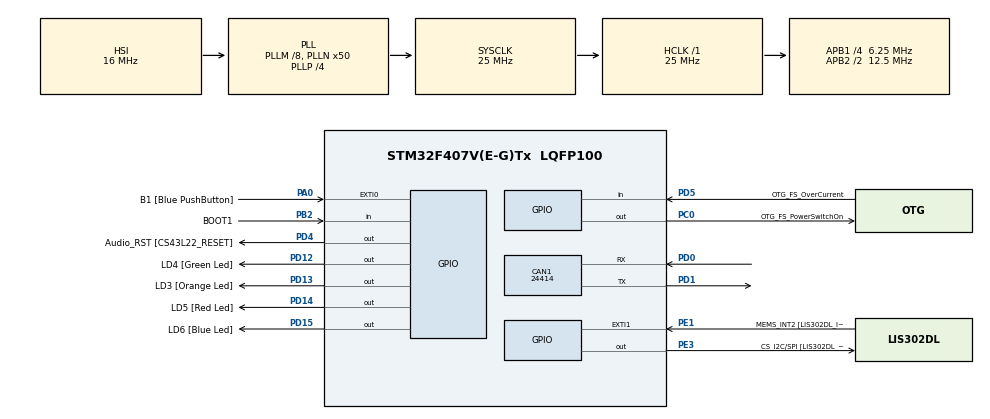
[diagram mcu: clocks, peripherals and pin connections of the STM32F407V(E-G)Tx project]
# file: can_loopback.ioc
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CAN1.BS1=CAN_BS1_11TQ
CAN1.BS2=CAN_BS2_4TQ
CAN1.CalculateBaudRate=24414
CAN1.CalculateTimeBit=40960
CAN1.CalculateTimeQuantum=2560.0
CAN1.Mode=CAN_MODE_LOOPBACK
Mcu.Family=STM32F4
Mcu.Name=STM32F407V(E-G)Tx
Mcu.Package=LQFP100
NVIC.PriorityGroup=NVIC_PRIORITYGROUP_0
PA0-WKUP.GPIO_Label=B1 [Blue PushButton]
PA0-WKUP.Signal=GPXTI0
PA10.GPIO_Label=OTG_FS_ID
PA10.GPIO_Mode=GPIO_MODE_AF_PP
PA10.GPIO_PuPd=GPIO_NOPULL
PA10.GPIO_Speed=GPIO_SPEED_FREQ_LOW
PA10.Signal=USB_OTG_FS_ID
PA11.GPIO_Label=OTG_FS_DM
PA11.GPIO_Mode=GPIO_MODE_AF_PP
PA11.GPIO_PuPd=GPIO_NOPULL
PA11.GPIO_Speed=GPIO_SPEED_FREQ_LOW
PA11.Signal=USB_OTG_FS_DM
PA12.GPIO_Label=OTG_FS_DP
PA12.GPIO_Mode=GPIO_MODE_AF_PP
PA12.GPIO_PuPd=GPIO_NOPULL
PA12.GPIO_Speed=GPIO_SPEED_FREQ_LOW
PA12.Signal=USB_OTG_FS_DP
PA13.GPIO_Label=SWDIO
PA13.Signal=SYS_JTMS-SWDIO
PA14.GPIO_Label=SWCLK
PA14.Signal=SYS_JTCK-SWCLK
PA4.GPIO_Label=I2S3_WS [CS43L22_LRCK]
PA4.GPIO_Mode=GPIO_MODE_AF_PP
PA4.GPIO_PuPd=GPIO_NOPULL
PA4.GPIO_Speed=GPIO_SPEED_FREQ_LOW
PA4.Signal=I2S3_WS
PA5.GPIO_Label=SPI1_SCK [LIS302DL_SCL/SPC]
PA5.GPIO_Mode=GPIO_MODE_AF_PP
PA5.GPIO_PuPd=GPIO_NOPULL
PA5.GPIO_Speed=GPIO_SPEED_FREQ_LOW
PA5.Signal=SPI1_SCK
PA6.GPIO_Label=SPI1_MISO [LIS302DL_SDO]
PA6.GPIO_Mode=GPIO_MODE_AF_PP
PA6.GPIO_PuPd=GPIO_NOPULL
PA6.GPIO_Speed=GPIO_SPEED_FREQ_LOW
PA6.Signal=SPI1_MISO
PA7.GPIO_Label=SPI1_MOSI [LIS302DL_SDA/SDI/SDO]
PA7.GPIO_Mode=GPIO_MODE_AF_PP
PA7.GPIO_PuPd=GPIO_NOPULL
PA7.GPIO_Speed=GPIO_SPEED_FREQ_LOW
PA7.Signal=SPI1_MOSI
PA9.GPIO_Label=VBUS_FS
PA9.GPIO_Mode=GPIO_MODE_INPUT
PA9.GPIO_PuPd=GPIO_NOPULL
PA9.Signal=USB_OTG_FS_VBUS
PB10.GPIO_Label=CLK_IN [MP45DT02_CLK]
PB10.GPIO_Mode=GPIO_MODE_AF_PP
PB10.GPIO_PuPd=GPIO_NOPULL
PB10.GPIO_Speed=GPIO_SPEED_FREQ_LOW
PB10.Signal=I2S2_CK
PB2.GPIO_Label=BOOT1
PB2.GPIO_Mode=GPIO_MODE_INPUT
PB2.GPIO_PuPd=GPIO_NOPULL
PB2.Signal=GPIO_Input
PB3.GPIO_Label=SWO
PB3.Signal=SYS_JTDO-SWO
PB6.GPIO_Label=Audio_SCL [CS43L22_SCL]
PB6.GPIO_Mode=GPIO_MODE_AF_OD
PB6.GPIO_PuPd=GPIO_NOPULL
PB6.GPIO_Speed=GPIO_SPEED_FREQ_LOW
PB6.Signal=I2C1_SCL
PB9.GPIO_Label=Audio_SDA [CS43L22_SDA]
PB9.GPIO_Mode=GPIO_MODE_AF_OD
PB9.GPIO_PuPd=GPIO_NOPULL
PB9.GPIO_Speed=GPIO_SPEED_FREQ_LOW
PB9.Signal=I2C1_SDA
PC0.GPIO_Label=OTG_FS_PowerSwitchOn
PC0.GPIO_PuPd=GPIO_NOPULL
PC0.GPIO_Speed=GPIO_SPEED_FREQ_LOW
PC0.PinState=GPIO_PIN_SET
PC0.Signal=GPIO_Output
PC10.GPIO_Label=I2S3_SCK [CS43L22_SCLK]
PC10.GPIO_Mode=GPIO_MODE_AF_PP
PC10.GPIO_PuPd=GPIO_NOPULL
PC10.GPIO_Speed=GPIO_SPEED_FREQ_LOW
PC10.Signal=I2S3_CK
PC12.GPIO_Label=I2S3_SD [CS43L22_SDIN]
PC12.GPIO_Mode=GPIO_MODE_AF_PP
PC12.GPIO_PuPd=GPIO_NOPULL
PC12.GPIO_Speed=GPIO_SPEED_FREQ_LOW
PC12.Signal=I2S3_SD
PC14-OSC32_IN.GPIO_Label=PC14-OSC32_IN
PC14-OSC32_IN.Signal=RCC_OSC32_IN
PC15-OSC32_OUT.GPIO_Label=PC15-OSC32_OUT
PC15-OSC32_OUT.Signal=RCC_OSC32_OUT
PC3.GPIO_Label=PDM_OUT [MP45DT02_DOUT]
PC3.GPIO_Mode=GPIO_MODE_AF_PP
PC3.GPIO_PuPd=GPIO_NOPULL
PC3.GPIO_Speed=GPIO_SPEED_FREQ_LOW
PC3.Signal=I2S2_SD
PC7.GPIO_Label=I2S3_MCK [CS43L22_MCLK]
PC7.GPIO_Mode=GPIO_MODE_AF_PP
PC7.GPIO_PuPd=GPIO_NOPULL
PC7.GPIO_Speed=GPIO_SPEED_FREQ_LOW
PC7.Signal=I2S3_MCK
PD0.Mode=CAN_Activate
PD0.Signal=CAN1_RX
PD1.Mode=CAN_Activate
PD1.Signal=CAN1_TX
PD12.GPIO_Label=LD4 [Green Led]
PD12.GPIO_PuPd=GPIO_NOPULL
PD12.GPIO_Speed=GPIO_SPEED_FREQ_LOW
PD12.Signal=GPIO_Output
PD13.GPIO_Label=LD3 [Orange Led]
PD13.GPIO_PuPd=GPIO_NOPULL
PD13.GPIO_Speed=GPIO_SPEED_FREQ_LOW
PD13.Signal=GPIO_Output
PD14.GPIO_Label=LD5 [Red Led]
PD14.GPIO_PuPd=GPIO_NOPULL
PD14.GPIO_Speed=GPIO_SPEED_FREQ_LOW
PD14.Signal=GPIO_Output
PD15.GPIO_Label=LD6 [Blue Led]
PD15.GPIO_PuPd=GPIO_NOPULL
PD15.GPIO_Speed=GPIO_SPEED_FREQ_LOW
PD15.Signal=GPIO_Output
PD4.GPIO_Label=Audio_RST [CS43L22_RESET]
PD4.GPIO_PuPd=GPIO_NOPULL
PD4.GPIO_Speed=GPIO_SPEED_FREQ_LOW
PD4.Signal=GPIO_Output
PD5.GPIO_Label=OTG_FS_OverCurrent
PD5.GPIO_Mode=GPIO_MODE_INPUT
PD5.GPIO_PuPd=GPIO_NOPULL
PD5.Signal=GPIO_Input
PE1.GPIO_Label=MEMS_INT2 [LIS302DL_INT2]
PE1.GPIO_ModeDefaultEXTI=GPIO_MODE_EVT_RISING
PE1.GPIO_PuPd=GPIO_NOPULL
PE1.Signal=GPXTI1
PE3.GPIO_Label=CS_I2C/SPI [LIS302DL_CS_I2C/SPI]
PE3.GPIO_PuPd=GPIO_NOPULL
PE3.GPIO_Speed=GPIO_SPEED_FREQ_LOW
PE3.Signal=GPIO_Output
PH0-OSC_IN.GPIO_Label=PH0-OSC_IN
PH0-OSC_IN.Signal=RCC_OSC_IN
PH1-OSC_OUT.GPIO_Label=PH1-OSC_OUT
PH1-OSC_OUT.Signal=RCC_OSC_OUT
ProjectManager.HeapSize=0x200
ProjectManager.StackSize=0x400
ProjectManager.TargetToolchain=STM32CubeIDE
RCC.48MHZClocksFreq_Value=14285714.285714285
RCC.AHBFreq_Value=25000000
RCC.APB1CLKDivider=RCC_HCLK_DIV4
RCC.APB1Freq_Value=6250000
RCC.APB1TimFreq_Value=12500000
RCC.APB2CLKDivider=RCC_HCLK_DIV2
RCC.APB2Freq_Value=12500000
RCC.APB2TimFreq_Value=25000000
RCC.CortexFreq_Value=25000000
RCC.HCLKFreq_Value=25000000
RCC.HSE_VALUE=8000000
RCC.HSI_VALUE=16000000
RCC.LSE_VALUE=32768
RCC.PLLM=8
RCC.PLLN=50
RCC.PLLP=RCC_PLLP_DIV4
RCC.PLLQ=7
RCC.SYSCLKFreq_VALUE=25000000
RCC.SYSCLKSource=RCC_SYSCLKSOURCE_PLLCLK
RCC.VCOOutputFreq_Value=100000000
board=STM32F407G-DISC1

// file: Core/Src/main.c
/* USER CODE BEGIN Header */
/**
  ******************************************************************************
  * @file           : main.c
  * @brief          : Main program body
  ******************************************************************************
  * @attention
  *
  * Copyright (c) 2026 STMicroelectronics.
  * All rights reserved.
  *
  * This software is licensed under terms that can be found in the LICENSE file
  * in the root directory of this software component.
  * If no LICENSE file comes with this software, it is provided AS-IS.
  *
  ******************************************************************************
  */
/* USER CODE END Header */
#include "main.h"

CAN_HandleTypeDef hcan1;

/* USER CODE BEGIN PV */
/* USER CODE BEGIN PV */

CAN_FilterTypeDef canFilter;

CAN_TxHeaderTypeDef TxHeader;
CAN_RxHeaderTypeDef RxHeader;

uint8_t TxData[8] = {
    0x11, 0x22, 0x33, 0x44,
    0x55, 0x66, 0x77, 0x88
};

uint8_t RxData[8];

uint32_t TxMailbox;

volatile uint8_t can_received = 0;
volatile uint8_t can_test_pass = 0;

/* USER CODE END PV */
/* USER CODE END PV */

void SystemClock_Config(void);
static void MX_GPIO_Init(void);
static void MX_CAN1_Init(void);

int main(void)
{

  /* MCU Configuration--------------------------------------------------------*/

  /* Reset of all peripherals, Initializes the Flash interface and the Systick. */
  HAL_Init();

  /* Configure the system clock */
  SystemClock_Config();

  /* Initialize all configured peripherals */
  MX_GPIO_Init();
  MX_CAN1_Init();
  /* USER CODE BEGIN 2 */
  /* USER CODE BEGIN 2 */

  /* Configure CAN filter */
  canFilter.FilterBank = 0;
  canFilter.FilterMode = CAN_FILTERMODE_IDMASK;
  canFilter.FilterScale = CAN_FILTERSCALE_32BIT;

  canFilter.FilterIdHigh = 0x0000;
  canFilter.FilterIdLow = 0x0000;

  canFilter.FilterMaskIdHigh = 0x0000;
  canFilter.FilterMaskIdLow = 0x0000;

  canFilter.FilterFIFOAssignment = CAN_RX_FIFO0;
  canFilter.FilterActivation = ENABLE;

  canFilter.SlaveStartFilterBank = 14;

  HAL_CAN_ConfigFilter(&hcan1, &canFilter);

  /* Start CAN */
  HAL_CAN_Start(&hcan1);

  /* Configure CAN transmit header */
  TxHeader.StdId = 0x123;
  TxHeader.IDE = CAN_ID_STD;
  TxHeader.RTR = CAN_RTR_DATA;
  TxHeader.DLC = 8;

  /* Transmit CAN message */
  HAL_CAN_AddTxMessage(
      &hcan1,
      &TxHeader,
      TxData,
      &TxMailbox
  );

  /* Wait until message is received */
  while (HAL_CAN_GetRxFifoFillLevel(&hcan1, CAN_RX_FIFO0) == 0)
  {
  }

  /* Receive CAN message */
  HAL_CAN_GetRxMessage(
      &hcan1,
      CAN_RX_FIFO0,
      &RxHeader,
      RxData
  );

  can_received = 1;

  /* Check received message */
  if ((RxHeader.StdId == 0x123) &&
      (RxData[0] == 0x11) &&
      (RxData[1] == 0x22) &&
      (RxData[2] == 0x33) &&
      (RxData[3] == 0x44) &&
      (RxData[4] == 0x55) &&
      (RxData[5] == 0x66) &&
      (RxData[6] == 0x77) &&
      (RxData[7] == 0x88))
  {
      can_test_pass = 1;
  }

  /* USER CODE END 2 */
  /* USER CODE END 2 */

  /* Infinite loop */
  while (1)
  {

  }
}

void SystemClock_Config(void)
{
  RCC_OscInitTypeDef RCC_OscInitStruct = {0};
  RCC_ClkInitTypeDef RCC_ClkInitStruct = {0};

  /** Configure the main internal regulator output voltage
  */
  __HAL_RCC_PWR_CLK_ENABLE();
  __HAL_PWR_VOLTAGESCALING_CONFIG(PWR_REGULATOR_VOLTAGE_SCALE1);

  /** Initializes the RCC Oscillators according to the specified parameters
  * in the RCC_OscInitTypeDef structure.
  */
  RCC_OscInitStruct.OscillatorType = RCC_OSCILLATORTYPE_HSI;
  RCC_OscInitStruct.HSIState = RCC_HSI_ON;
  RCC_OscInitStruct.HSICalibrationValue = RCC_HSICALIBRATION_DEFAULT;
  RCC_OscInitStruct.PLL.PLLState = RCC_PLL_ON;
  RCC_OscInitStruct.PLL.PLLSource = RCC_PLLSOURCE_HSI;
  RCC_OscInitStruct.PLL.PLLM = 8;
  RCC_OscInitStruct.PLL.PLLN = 50;
  RCC_OscInitStruct.PLL.PLLP = RCC_PLLP_DIV4;
  RCC_OscInitStruct.PLL.PLLQ = 7;
  if (HAL_RCC_OscConfig(&RCC_OscInitStruct) != HAL_OK)
  {
    Error_Handler();
  }

  /** Initializes the CPU, AHB and APB buses clocks
  */
  RCC_ClkInitStruct.ClockType = RCC_CLOCKTYPE_HCLK|RCC_CLOCKTYPE_SYSCLK
                              |RCC_CLOCKTYPE_PCLK1|RCC_CLOCKTYPE_PCLK2;
  RCC_ClkInitStruct.SYSCLKSource = RCC_SYSCLKSOURCE_PLLCLK;
  RCC_ClkInitStruct.AHBCLKDivider = RCC_SYSCLK_DIV1;
  RCC_ClkInitStruct.APB1CLKDivider = RCC_HCLK_DIV4;
  RCC_ClkInitStruct.APB2CLKDivider = RCC_HCLK_DIV2;

  if (HAL_RCC_ClockConfig(&RCC_ClkInitStruct, FLASH_LATENCY_0) != HAL_OK)
  {
    Error_Handler();
  }
}

static void MX_CAN1_Init(void)
{

  hcan1.Instance = CAN1;
  hcan1.Init.Prescaler = 16;
  hcan1.Init.Mode = CAN_MODE_LOOPBACK;
  hcan1.Init.SyncJumpWidth = CAN_SJW_1TQ;
  hcan1.Init.TimeSeg1 = CAN_BS1_11TQ;
  hcan1.Init.TimeSeg2 = CAN_BS2_4TQ;
  hcan1.Init.TimeTriggeredMode = DISABLE;
  hcan1.Init.AutoBusOff = DISABLE;
  hcan1.Init.AutoWakeUp = DISABLE;
  hcan1.Init.AutoRetransmission = DISABLE;
  hcan1.Init.ReceiveFifoLocked = DISABLE;
  hcan1.Init.TransmitFifoPriority = DISABLE;
  if (HAL_CAN_Init(&hcan1) != HAL_OK)
  {
    Error_Handler();
  }

}

static void MX_GPIO_Init(void)
{
  GPIO_InitTypeDef GPIO_InitStruct = {0};

  /* GPIO Ports Clock Enable */
  __HAL_RCC_GPIOE_CLK_ENABLE();
  __HAL_RCC_GPIOC_CLK_ENABLE();
  __HAL_RCC_GPIOH_CLK_ENABLE();
  __HAL_RCC_GPIOA_CLK_ENABLE();
  __HAL_RCC_GPIOB_CLK_ENABLE();
  __HAL_RCC_GPIOD_CLK_ENABLE();

  /*Configure GPIO pin Output Level */
  HAL_GPIO_WritePin(CS_I2C_SPI_GPIO_Port, CS_I2C_SPI_Pin, GPIO_PIN_RESET);

  /*Configure GPIO pin Output Level */
  HAL_GPIO_WritePin(OTG_FS_PowerSwitchOn_GPIO_Port, OTG_FS_PowerSwitchOn_Pin, GPIO_PIN_SET);

  /*Configure GPIO pin Output Level */
  HAL_GPIO_WritePin(GPIOD, LD4_Pin|LD3_Pin|LD5_Pin|LD6_Pin
                          |Audio_RST_Pin, GPIO_PIN_RESET);

  /*Configure GPIO pin : CS_I2C_SPI_Pin */
  GPIO_InitStruct.Pin = CS_I2C_SPI_Pin;
  GPIO_InitStruct.Mode = GPIO_MODE_OUTPUT_PP;
  GPIO_InitStruct.Pull = GPIO_NOPULL;
  GPIO_InitStruct.Speed = GPIO_SPEED_FREQ_LOW;
  HAL_GPIO_Init(CS_I2C_SPI_GPIO_Port, &GPIO_InitStruct);

  /*Configure GPIO pin : OTG_FS_PowerSwitchOn_Pin */
  GPIO_InitStruct.Pin = OTG_FS_PowerSwitchOn_Pin;
  GPIO_InitStruct.Mode = GPIO_MODE_OUTPUT_PP;
  GPIO_InitStruct.Pull = GPIO_NOPULL;
  GPIO_InitStruct.Speed = GPIO_SPEED_FREQ_LOW;
  HAL_GPIO_Init(OTG_FS_PowerSwitchOn_GPIO_Port, &GPIO_InitStruct);

  /*Configure GPIO pin : PDM_OUT_Pin */
  GPIO_InitStruct.Pin = PDM_OUT_Pin;
  GPIO_InitStruct.Mode = GPIO_MODE_AF_PP;
  GPIO_InitStruct.Pull = GPIO_NOPULL;
  GPIO_InitStruct.Speed = GPIO_SPEED_FREQ_LOW;
  GPIO_InitStruct.Alternate = GPIO_AF5_SPI2;
  HAL_GPIO_Init(PDM_OUT_GPIO_Port, &GPIO_InitStruct);

  /*Configure GPIO pin : B1_Pin */
  GPIO_InitStruct.Pin = B1_Pin;
  GPIO_InitStruct.Mode = GPIO_MODE_IT_RISING;
  GPIO_InitStruct.Pull = GPIO_NOPULL;
  HAL_GPIO_Init(B1_GPIO_Port, &GPIO_InitStruct);

  /*Configure GPIO pin : I2S3_WS_Pin */
  GPIO_InitStruct.Pin = I2S3_WS_Pin;
  GPIO_InitStruct.Mode = GPIO_MODE_AF_PP;
  GPIO_InitStruct.Pull = GPIO_NOPULL;
  GPIO_InitStruct.Speed = GPIO_SPEED_FREQ_LOW;
  GPIO_InitStruct.Alternate = GPIO_AF6_SPI3;
  HAL_GPIO_Init(I2S3_WS_GPIO_Port, &GPIO_InitStruct);

  /*Configure GPIO pins : SPI1_SCK_Pin SPI1_MISO_Pin SPI1_MOSI_Pin */
  GPIO_InitStruct.Pin = SPI1_SCK_Pin|SPI1_MISO_Pin|SPI1_MOSI_Pin;
  GPIO_InitStruct.Mode = GPIO_MODE_AF_PP;
  GPIO_InitStruct.Pull = GPIO_NOPULL;
  GPIO_InitStruct.Speed = GPIO_SPEED_FREQ_LOW;
  GPIO_InitStruct.Alternate = GPIO_AF5_SPI1;
  HAL_GPIO_Init(GPIOA, &GPIO_InitStruct);

  /*Configure GPIO pin : BOOT1_Pin */
  GPIO_InitStruct.Pin = BOOT1_Pin;
  GPIO_InitStruct.Mode = GPIO_MODE_INPUT;
  GPIO_InitStruct.Pull = GPIO_NOPULL;
  HAL_GPIO_Init(BOOT1_GPIO_Port, &GPIO_InitStruct);

  /*Configure GPIO pin : CLK_IN_Pin */
  GPIO_InitStruct.Pin = CLK_IN_Pin;
  GPIO_InitStruct.Mode = GPIO_MODE_AF_PP;
  GPIO_InitStruct.Pull = GPIO_NOPULL;
  GPIO_InitStruct.Speed = GPIO_SPEED_FREQ_LOW;
  GPIO_InitStruct.Alternate = GPIO_AF5_SPI2;
  HAL_GPIO_Init(CLK_IN_GPIO_Port, &GPIO_InitStruct);

  /*Configure GPIO pins : LD4_Pin LD3_Pin LD5_Pin LD6_Pin
                           Audio_RST_Pin */
  GPIO_InitStruct.Pin = LD4_Pin|LD3_Pin|LD5_Pin|LD6_Pin
                          |Audio_RST_Pin;
  GPIO_InitStruct.Mode = GPIO_MODE_OUTPUT_PP;
  GPIO_InitStruct.Pull = GPIO_NOPULL;
  GPIO_InitStruct.Speed = GPIO_SPEED_FREQ_LOW;
  HAL_GPIO_Init(GPIOD, &GPIO_InitStruct);

  /*Configure GPIO pins : I2S3_MCK_Pin I2S3_SCK_Pin I2S3_SD_Pin */
  GPIO_InitStruct.Pin = I2S3_MCK_Pin|I2S3_SCK_Pin|I2S3_SD_Pin;
  GPIO_InitStruct.Mode = GPIO_MODE_AF_PP;
  GPIO_InitStruct.Pull = GPIO_NOPULL;
  GPIO_InitStruct.Speed = GPIO_SPEED_FREQ_LOW;
  GPIO_InitStruct.Alternate = GPIO_AF6_SPI3;
  HAL_GPIO_Init(GPIOC, &GPIO_InitStruct);

  /*Configure GPIO pin : VBUS_FS_Pin */
  GPIO_InitStruct.Pin = VBUS_FS_Pin;
  GPIO_InitStruct.Mode = GPIO_MODE_INPUT;
  GPIO_InitStruct.Pull = GPIO_NOPULL;
  HAL_GPIO_Init(VBUS_FS_GPIO_Port, &GPIO_InitStruct);

  /*Configure GPIO pins : OTG_FS_ID_Pin OTG_FS_DM_Pin OTG_FS_DP_Pin */
  GPIO_InitStruct.Pin = OTG_FS_ID_Pin|OTG_FS_DM_Pin|OTG_FS_DP_Pin;
  GPIO_InitStruct.Mode = GPIO_MODE_AF_PP;
  GPIO_InitStruct.Pull = GPIO_NOPULL;
  GPIO_InitStruct.Speed = GPIO_SPEED_FREQ_LOW;
  GPIO_InitStruct.Alternate = GPIO_AF10_OTG_FS;
  HAL_GPIO_Init(GPIOA, &GPIO_InitStruct);

  /*Configure GPIO pin : OTG_FS_OverCurrent_Pin */
  GPIO_InitStruct.Pin = OTG_FS_OverCurrent_Pin;
  GPIO_InitStruct.Mode = GPIO_MODE_INPUT;
  GPIO_InitStruct.Pull = GPIO_NOPULL;
  HAL_GPIO_Init(OTG_FS_OverCurrent_GPIO_Port, &GPIO_InitStruct);

  /*Configure GPIO pins : Audio_SCL_Pin Audio_SDA_Pin */
  GPIO_InitStruct.Pin = Audio_SCL_Pin|Audio_SDA_Pin;
  GPIO_InitStruct.Mode = GPIO_MODE_AF_OD;
  GPIO_InitStruct.Pull = GPIO_NOPULL;
  GPIO_InitStruct.Speed = GPIO_SPEED_FREQ_LOW;
  GPIO_InitStruct.Alternate = GPIO_AF4_I2C1;
  HAL_GPIO_Init(GPIOB, &GPIO_InitStruct);

  /*Configure GPIO pin : MEMS_INT2_Pin */
  GPIO_InitStruct.Pin = MEMS_INT2_Pin;
  GPIO_InitStruct.Mode = GPIO_MODE_EVT_RISING;
  GPIO_InitStruct.Pull = GPIO_NOPULL;
  HAL_GPIO_Init(MEMS_INT2_GPIO_Port, &GPIO_InitStruct);

}

void Error_Handler(void)
{
  __disable_irq();
  while (1)
  {
  }
}
